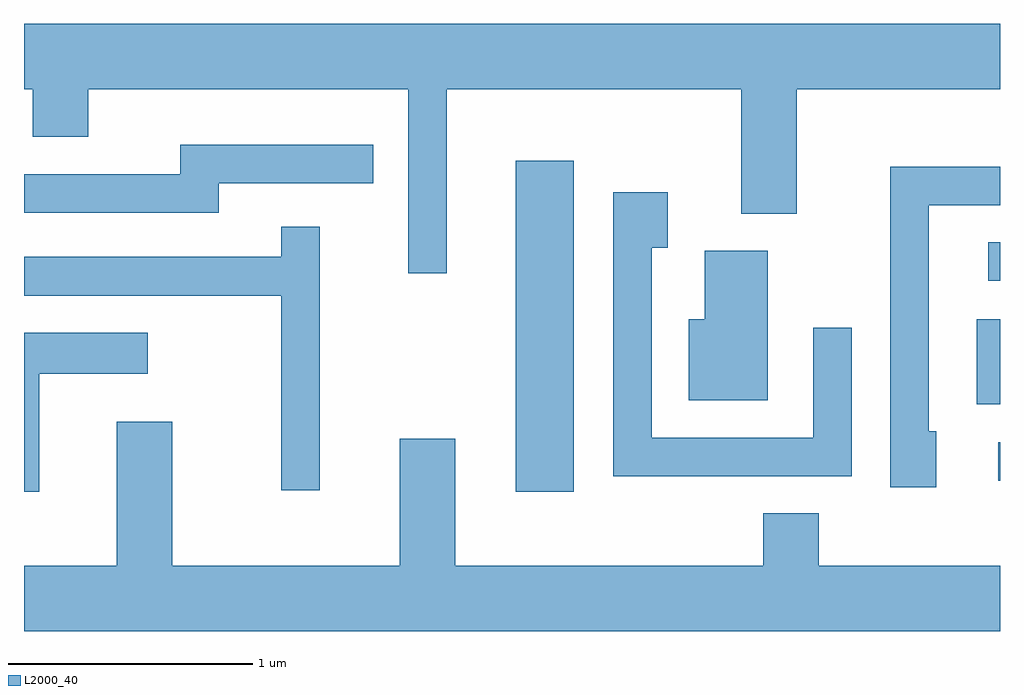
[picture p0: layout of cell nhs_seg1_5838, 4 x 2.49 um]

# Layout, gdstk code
import gdstk
lib = gdstk.Library(unit=1e-6, precision=1e-09)
def R(c, l, rs):  # rectangles x0, y0, x1, y1
    for r in rs: c.add(gdstk.rectangle(r[:2], r[2:], *l))
def P(c, l, *ps):  # polygons
    for p in ps: c.add(gdstk.Polygon(p, *l))
L2000_40 = (2000, 40)

nhs_seg1_5838 = lib.new_cell('nhs_seg1_5838')
R(nhs_seg1_5838, L2000_40, [(363.626,869.066,363.864,870.424), (365.603,869.111,365.611,869.269), (365.516,869.426,365.611,869.774), (365.563,869.931,365.611,870.089)])
P(nhs_seg1_5838, L2000_40, [(363.344,870.716),(364.551,870.716),(364.551,870.206),(364.779,870.206),(364.779,870.716),(365.611,870.716),(365.611,870.984),(361.611,870.984),(361.611,870.716),(361.646,870.716),(361.646,870.521),(361.874,870.521),(361.874,870.716),(363.186,870.716),(363.186,869.963),(363.344,869.963)],
  [(362.409,870.331),(363.043,870.331),(363.043,870.489),(362.251,870.489),(362.251,870.369),(361.611,870.369),(361.611,870.211),(362.409,870.211)],
  [(365.349,869.314),(365.319,869.314),(365.319,870.241),(365.611,870.241),(365.611,870.399),(365.161,870.399),(365.161,869.086),(365.349,869.086)],
  [(365.004,869.738),(364.846,869.738),(364.846,869.289),(364.184,869.289),(364.184,870.066),(364.249,870.066),(364.249,870.294),(364.026,870.294),(364.026,869.131),(365.004,869.131)],
  [(362.824,870.153),(362.666,870.153),(362.666,870.029),(361.611,870.029),(361.611,869.871),(362.666,869.871),(362.666,869.073),(362.824,869.073)],
  [(364.659,870.054),(364.401,870.054),(364.401,869.774),(364.336,869.774),(364.336,869.441),(364.659,869.441)],
  [(361.674,869.551),(362.118,869.551),(362.118,869.719),(361.611,869.719),(361.611,869.066),(361.674,869.066)],
  [(361.991,869.354),(361.991,868.764),(361.611,868.764),(361.611,868.496),(365.611,868.496),(365.611,868.764),(364.869,868.764),(364.869,868.979),(364.641,868.979),(364.641,868.764),(363.379,868.764),(363.379,869.284),(363.151,869.284),(363.151,868.764),(362.219,868.764),(362.219,869.354)])

lib.write_gds('nhs_seg1_5838.gds')
